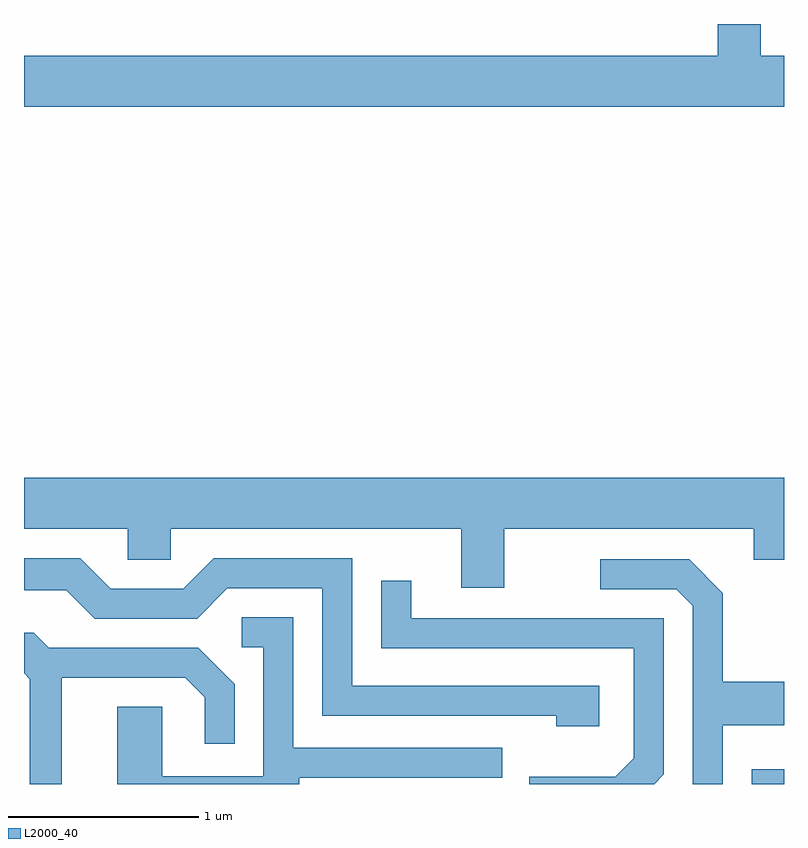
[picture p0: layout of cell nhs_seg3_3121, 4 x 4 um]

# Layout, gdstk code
import gdstk
lib = gdstk.Library(unit=1e-6, precision=1e-09)
def R(c, l, rs):  # rectangles x0, y0, x1, y1
    for r in rs: c.add(gdstk.rectangle(r[:2], r[2:], *l))
def P(c, l, *ps):  # polygons
    for p in ps: c.add(gdstk.Polygon(p, *l))
L2000_40 = (2000, 40)

nhs_seg3_3121 = lib.new_cell('nhs_seg3_3121')
R(nhs_seg3_3121, L2000_40, [(279.441,1237.892,279.611,1237.969)])
P(nhs_seg3_3121, L2000_40, [(279.611,1241.724),(279.489,1241.724),(279.489,1241.892),(279.261,1241.892),(279.261,1241.724),(275.611,1241.724),(275.611,1241.456),(279.611,1241.456)],
  [(278.139,1239.236),(279.451,1239.236),(279.451,1239.071),(279.611,1239.071),(279.611,1239.504),(275.611,1239.504),(275.611,1239.236),(276.156,1239.236),(276.156,1239.071),(276.384,1239.071),(276.384,1239.236),(277.911,1239.236),(277.911,1238.926),(278.139,1238.926)],
  [(278.639,1238.409),(277.339,1238.409),(277.339,1239.079),(276.609,1239.079),(276.449,1238.919),(276.067,1238.919),(275.907,1239.079),(275.611,1239.079),(275.611,1238.911),(275.834,1238.911),(275.984,1238.761),(276.522,1238.761),(276.682,1238.921),(277.181,1238.921),(277.181,1238.251),(278.411,1238.251),(278.411,1238.196),(278.639,1238.196)],
  [(279.289,1238.201),(279.611,1238.201),(279.611,1238.429),(279.289,1238.429),(279.289,1238.897),(279.112,1239.074),(278.643,1239.074),(278.643,1238.916),(279.044,1238.916),(279.131,1238.829),(279.131,1237.892),(279.289,1237.892)],
  [(278.979,1237.944),(278.979,1238.764),(277.649,1238.764),(277.649,1238.963),(277.491,1238.963),(277.491,1238.606),(278.821,1238.606),(278.821,1238.027),(278.724,1237.929),(278.271,1237.929),(278.271,1237.892),(278.927,1237.892)],
  [(277.059,1237.926),(278.128,1237.926),(278.128,1238.084),(277.029,1238.084),(277.029,1238.769),(276.758,1238.769),(276.758,1238.611),(276.871,1238.611),(276.871,1237.934),(276.339,1237.934),(276.339,1238.299),(276.101,1238.299),(276.101,1237.892),(277.059,1237.892)],
  [(275.809,1238.451),(276.459,1238.451),(276.561,1238.349),(276.561,1238.103),(276.719,1238.103),(276.719,1238.417),(276.527,1238.609),(275.742,1238.609),(275.662,1238.689),(275.611,1238.689),(275.611,1238.474),(275.641,1238.444),(275.641,1237.892),(275.809,1237.892)])

lib.write_gds('nhs_seg3_3121.gds')
